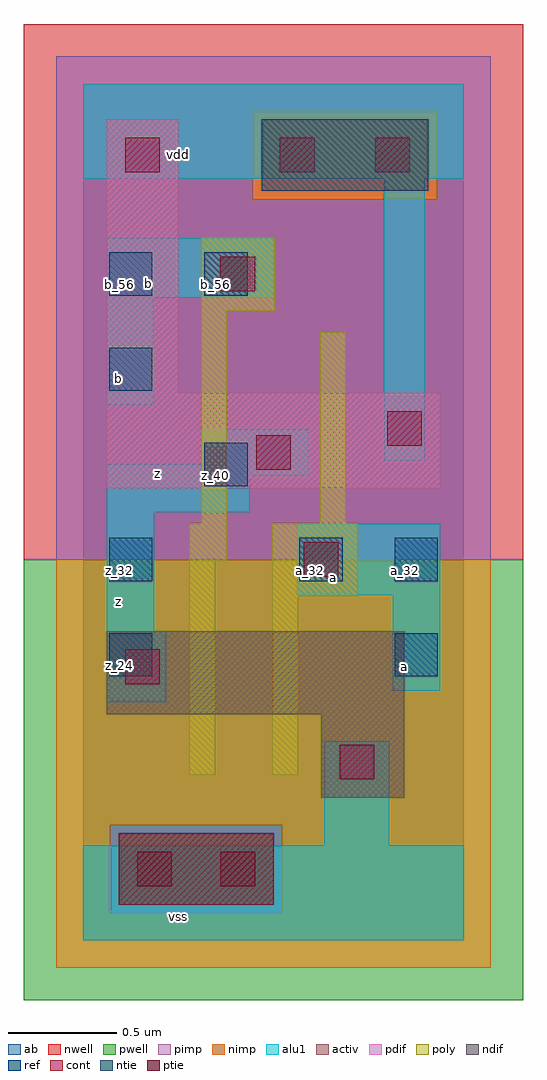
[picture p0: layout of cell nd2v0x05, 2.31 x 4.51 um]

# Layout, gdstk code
import gdstk
lib = gdstk.Library(unit=1e-6, precision=2.5e-09)
def R(c, l, rs):  # rectangles x0, y0, x1, y1
    for r in rs: c.add(gdstk.rectangle(r[:2], r[2:], *l))
ndif = (3, 0)
pdif = (4, 0)
ntie = (5, 0)
ptie = (6, 0)
ref = (24, 0)
cont = (25, 0)
pwell = (41, 0)
nwell = (42, 0)
activ = (43, 0)
pimp = (44, 0)
nimp = (45, 0)
poly = (46, 0)
alu1 = (49, 0)
ab = (63, 0)

nd2v0x05 = lib.new_cell('nd2v0x05')
R(nd2v0x05, ndif, [(1.1,0.66,1.485,1.045), (0.11,1.045,1.485,1.43)])
R(nd2v0x05, pdif, [(0.11,2.09,1.65,2.53), (0.11,2.53,0.44,3.795)])
R(nd2v0x05, ntie, [(0.825,3.465,1.595,3.795)])
R(nd2v0x05, ptie, [(0.165,0.165,0.88,0.495)])
R(nd2v0x05, ref, [(0.12,1.22,0.32,1.42), (1.44,1.22,1.64,1.42), (0.12,1.66,0.32,1.86), (1,1.66,1.2,1.86), (1.44,1.66,1.64,1.86), (0.56,2.1,0.76,2.3), (0.12,2.54,0.32,2.74), (0.12,2.98,0.32,3.18), (0.56,2.98,0.76,3.18)])
R(nd2v0x05, cont, [(0.25,0.25,0.41,0.41), (0.635,0.25,0.795,0.41), (1.185,0.745,1.345,0.905), (0.195,1.185,0.355,1.345), (1.02,1.68,1.18,1.84), (0.8,2.175,0.96,2.335), (1.405,2.285,1.565,2.445), (0.635,3,0.795,3.16), (0.195,3.55,0.355,3.71), (0.91,3.55,1.07,3.71), (1.35,3.55,1.51,3.71)])
R(nd2v0x05, pwell, [(-0.275,-0.275,2.035,1.76)])
R(nd2v0x05, nwell, [(-0.275,1.76,2.035,4.235)])
R(nd2v0x05, activ, [(0.165,0.165,0.88,0.495), (1.1,0.66,1.485,1.045), (0.11,1.045,1.485,1.43), (0.11,2.09,1.65,2.53), (0.11,2.53,0.44,3.795), (0.825,3.465,1.595,3.795)])
R(nd2v0x05, pimp, [(0.125,0.125,0.92,0.535), (-0.125,1.76,1.885,3.425), (-0.125,3.425,0.785,3.835), (1.635,3.425,1.885,3.835), (-0.125,3.835,1.885,4.085)])
R(nd2v0x05, nimp, [(-0.125,-0.125,1.885,0.125), (-0.125,0.125,0.125,0.535), (0.92,0.125,1.885,0.535), (-0.125,0.535,1.885,1.76), (0.785,3.425,1.635,3.835)])
R(nd2v0x05, poly, [(0.49,0.765,0.61,1.755), (0.875,0.765,0.995,1.59), (0.875,1.59,1.27,1.93), (0.49,1.755,0.665,1.93), (0.545,1.93,0.665,2.91), (1.095,1.93,1.215,2.81), (0.545,2.91,0.885,3.25)])
R(nd2v0x05, alu1, [(0,0,1.76,0.44), (1.115,0.44,1.415,0.92), (0.11,1.1,0.385,1.43), (1.43,1.155,1.65,1.595), (0.11,1.43,0.33,1.98), (0.99,1.595,1.65,1.925), (0.11,1.98,0.77,2.145), (0.11,2.145,1.045,2.2), (0.55,2.2,1.045,2.365), (1.39,2.215,1.58,3.52), (0.11,2.475,0.33,2.97), (0.11,2.97,0.88,3.245), (0,3.52,1.76,3.96)])
R(nd2v0x05, ab, [(0,0,1.76,3.96)])
nd2v0x05.add(gdstk.Label('vss', (0.44,0.11), layer=49, texttype=0))
nd2v0x05.add(gdstk.Label('a', (1.485,1.265), layer=49, texttype=0))
nd2v0x05.add(gdstk.Label('a', (1.155,1.6775), layer=49, texttype=0))
nd2v0x05.add(gdstk.Label('z', (0.165,1.5675), layer=49, texttype=0))
nd2v0x05.add(gdstk.Label('z', (0.3425,2.1575), layer=49, texttype=0))
nd2v0x05.add(gdstk.Label('b', (0.165,2.5975), layer=49, texttype=0))
nd2v0x05.add(gdstk.Label('b', (0.3025,3.0375), layer=49, texttype=0))
nd2v0x05.add(gdstk.Label('vdd', (0.44,3.63), layer=49, texttype=0))
nd2v0x05.add(gdstk.Label('a_24', (1.49,1.27), layer=24, texttype=0))
nd2v0x05.add(gdstk.Label('z_32', (0.17,1.71), layer=24, texttype=0))
nd2v0x05.add(gdstk.Label('z_24', (0.17,1.27), layer=24, texttype=0))
nd2v0x05.add(gdstk.Label('a_32', (1.05,1.71), layer=24, texttype=0))
nd2v0x05.add(gdstk.Label('b_56', (0.61,3.03), layer=24, texttype=0))
nd2v0x05.add(gdstk.Label('z_40', (0.61,2.15), layer=24, texttype=0))
nd2v0x05.add(gdstk.Label('b_48', (0.17,2.59), layer=24, texttype=0))
nd2v0x05.add(gdstk.Label('b_56', (0.17,3.03), layer=24, texttype=0))
nd2v0x05.add(gdstk.Label('a_32', (1.49,1.71), layer=24, texttype=0))

lib.write_gds('nd2v0x05.gds')
